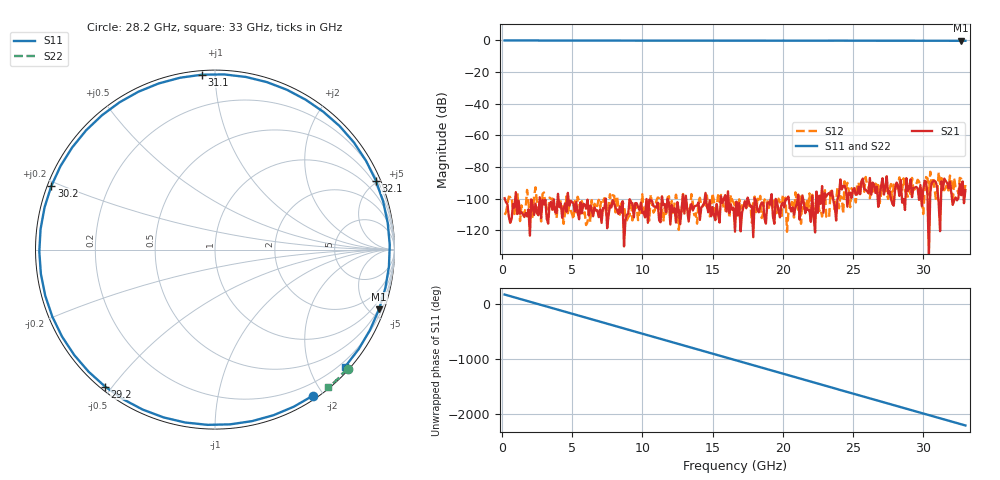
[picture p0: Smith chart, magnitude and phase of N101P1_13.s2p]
# GHZ S RI R 50
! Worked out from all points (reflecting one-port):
!   329 points, 200 MHz to 33 GHz, reference 50 ohm
!   lowest |S11| = -0.2 dB at 32.7 GHz (marker M1), VSWR 72.12, Z = 22.8 - j281 ohm
!   phase of S11 starts at 165 deg and turns -2367 deg over the sweep
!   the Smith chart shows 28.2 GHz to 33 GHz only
!   S11 on the Smith chart (normalised r, x): 28.2 GHz: 0.05, -1.87; 29.2 GHz: 0.01, -0.48; 30.2 GHz: 0.01, +0.19; 31.1 GHz: 0.02, +0.93; 32.1 GHz: 0.31, +4.84; 33 GHz: 0.10, -2.60
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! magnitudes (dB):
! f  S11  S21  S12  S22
! 200 MHz  0.0  -99.7  -110.2  0.0
! 5.7 GHz  -0.1  -109.1  -101.5  0.0
! 8.8 GHz  -0.1  -113.6  -111.3  0.0
! 11.2 GHz  -0.1  -113.6  -99.8  0.0
! 16.6 GHz  -0.1  -120.9  -104.9  0.0
! 19.2 GHz  -0.1  -97.1  -103.8  0.0
! 22.1 GHz  -0.2  -98.2  -97.5  0.0
! 22.7 GHz  -0.2  -103.3  -106.6  0.0
! 23.5 GHz  -0.2  -95.0  -99.4  0.0
! 23.7 GHz  -0.1  -104.5  -108.1  0.0
! 23.9 GHz  -0.1  -100.0  -92.8  0.1
! 24.1 GHz  -0.1  -87.9  -98.5  0.0
! 24.4 GHz  -0.1  -91.9  -89.0  0.0
! 25.3 GHz  -0.1  -97.3  -90.5  -0.1
! 27.6 GHz  -0.2  -95.1  -94.9  -0.1
! 28.2 GHz  -0.2  -92.1  -90.8  0.0
! 29.2 GHz  -0.2  -99.1  -86.9  -0.1
! 30.2 GHz  -0.2  -89.2  -86.3  -0.1
! 31.1 GHz  -0.2  -103.0  -83.3  -0.1
! 32.1 GHz  -0.2  -103.9  -103.2  -0.1
! 32.7 GHz  -0.2  -97.8  -87.4  -0.1
! 33 GHz  -0.2  -94.6  -91.3  -0.1
